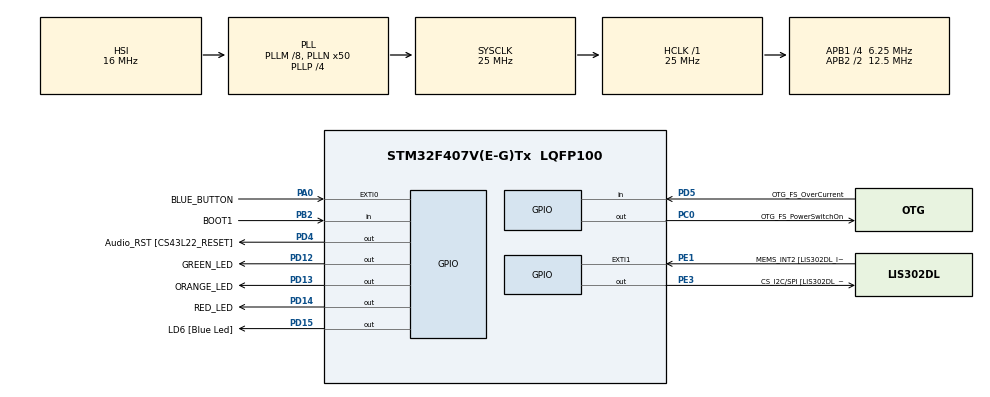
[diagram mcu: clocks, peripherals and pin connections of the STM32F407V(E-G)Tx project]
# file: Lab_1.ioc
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Mcu.Family=STM32F4
Mcu.Name=STM32F407V(E-G)Tx
Mcu.Package=LQFP100
NVIC.PriorityGroup=NVIC_PRIORITYGROUP_4
NVIC.TIM7_IRQn=true\:0\:0\:false\:false\:true\:false\:true\:true
NVIC.TimeBase=TIM7_IRQn
NVIC.TimeBaseIP=TIM7
PA0-WKUP.GPIO_Label=BLUE_BUTTON
PA0-WKUP.Signal=GPXTI0
PA10.GPIO_Label=OTG_FS_ID
PA10.GPIO_Mode=GPIO_MODE_AF_PP
PA10.GPIO_PuPd=GPIO_NOPULL
PA10.GPIO_Speed=GPIO_SPEED_FREQ_LOW
PA10.Signal=USB_OTG_FS_ID
PA11.GPIO_Label=OTG_FS_DM
PA11.GPIO_Mode=GPIO_MODE_AF_PP
PA11.GPIO_PuPd=GPIO_NOPULL
PA11.GPIO_Speed=GPIO_SPEED_FREQ_LOW
PA11.Signal=USB_OTG_FS_DM
PA12.GPIO_Label=OTG_FS_DP
PA12.GPIO_Mode=GPIO_MODE_AF_PP
PA12.GPIO_PuPd=GPIO_NOPULL
PA12.GPIO_Speed=GPIO_SPEED_FREQ_LOW
PA12.Signal=USB_OTG_FS_DP
PA13.GPIO_Label=SWDIO
PA13.Mode=Serial_Wire
PA13.Signal=SYS_JTMS-SWDIO
PA14.GPIO_Label=SWCLK
PA14.Mode=Serial_Wire
PA14.Signal=SYS_JTCK-SWCLK
PA4.GPIO_Label=I2S3_WS [CS43L22_LRCK]
PA4.GPIO_Mode=GPIO_MODE_AF_PP
PA4.GPIO_PuPd=GPIO_NOPULL
PA4.GPIO_Speed=GPIO_SPEED_FREQ_LOW
PA4.Signal=I2S3_WS
PA5.GPIO_Label=SPI1_SCK [LIS302DL_SCL/SPC]
PA5.GPIO_Mode=GPIO_MODE_AF_PP
PA5.GPIO_PuPd=GPIO_NOPULL
PA5.GPIO_Speed=GPIO_SPEED_FREQ_LOW
PA5.Signal=SPI1_SCK
PA6.GPIO_Label=SPI1_MISO [LIS302DL_SDO]
PA6.GPIO_Mode=GPIO_MODE_AF_PP
PA6.GPIO_PuPd=GPIO_NOPULL
PA6.GPIO_Speed=GPIO_SPEED_FREQ_LOW
PA6.Signal=SPI1_MISO
PA7.GPIO_Label=SPI1_MOSI [LIS302DL_SDA/SDI/SDO]
PA7.GPIO_Mode=GPIO_MODE_AF_PP
PA7.GPIO_PuPd=GPIO_NOPULL
PA7.GPIO_Speed=GPIO_SPEED_FREQ_LOW
PA7.Signal=SPI1_MOSI
PA9.GPIO_Label=VBUS_FS
PA9.GPIO_Mode=GPIO_MODE_INPUT
PA9.GPIO_PuPd=GPIO_NOPULL
PA9.Signal=USB_OTG_FS_VBUS
PB10.GPIO_Label=CLK_IN [MP45DT02_CLK]
PB10.GPIO_Mode=GPIO_MODE_AF_PP
PB10.GPIO_PuPd=GPIO_NOPULL
PB10.GPIO_Speed=GPIO_SPEED_FREQ_LOW
PB10.Signal=I2S2_CK
PB2.GPIO_Label=BOOT1
PB2.GPIO_Mode=GPIO_MODE_INPUT
PB2.GPIO_PuPd=GPIO_NOPULL
PB2.Signal=GPIO_Input
PB3.GPIO_Label=SWO
PB3.Signal=SYS_JTDO-SWO
PB6.GPIO_Label=Audio_SCL [CS43L22_SCL]
PB6.GPIO_Mode=GPIO_MODE_AF_OD
PB6.GPIO_PuPd=GPIO_NOPULL
PB6.GPIO_Speed=GPIO_SPEED_FREQ_LOW
PB6.Signal=I2C1_SCL
PB9.GPIO_Label=Audio_SDA [CS43L22_SDA]
PB9.GPIO_Mode=GPIO_MODE_AF_OD
PB9.GPIO_PuPd=GPIO_NOPULL
PB9.GPIO_Speed=GPIO_SPEED_FREQ_LOW
PB9.Signal=I2C1_SDA
PC0.GPIO_Label=OTG_FS_PowerSwitchOn
PC0.GPIO_PuPd=GPIO_NOPULL
PC0.GPIO_Speed=GPIO_SPEED_FREQ_LOW
PC0.PinState=GPIO_PIN_SET
PC0.Signal=GPIO_Output
PC10.GPIO_Label=I2S3_SCK [CS43L22_SCLK]
PC10.GPIO_Mode=GPIO_MODE_AF_PP
PC10.GPIO_PuPd=GPIO_NOPULL
PC10.GPIO_Speed=GPIO_SPEED_FREQ_LOW
PC10.Signal=I2S3_CK
PC12.GPIO_Label=I2S3_SD [CS43L22_SDIN]
PC12.GPIO_Mode=GPIO_MODE_AF_PP
PC12.GPIO_PuPd=GPIO_NOPULL
PC12.GPIO_Speed=GPIO_SPEED_FREQ_LOW
PC12.Signal=I2S3_SD
PC14-OSC32_IN.GPIO_Label=PC14-OSC32_IN
PC14-OSC32_IN.Signal=RCC_OSC32_IN
PC15-OSC32_OUT.GPIO_Label=PC15-OSC32_OUT
PC15-OSC32_OUT.Signal=RCC_OSC32_OUT
PC3.GPIO_Label=PDM_OUT [MP45DT02_DOUT]
PC3.GPIO_Mode=GPIO_MODE_AF_PP
PC3.GPIO_PuPd=GPIO_NOPULL
PC3.GPIO_Speed=GPIO_SPEED_FREQ_LOW
PC3.Signal=I2S2_SD
PC7.GPIO_Label=I2S3_MCK [CS43L22_MCLK]
PC7.GPIO_Mode=GPIO_MODE_AF_PP
PC7.GPIO_PuPd=GPIO_NOPULL
PC7.GPIO_Speed=GPIO_SPEED_FREQ_LOW
PC7.Signal=I2S3_MCK
PD12.GPIO_Label=GREEN_LED
PD12.GPIO_PuPd=GPIO_NOPULL
PD12.GPIO_Speed=GPIO_SPEED_FREQ_LOW
PD12.Signal=GPIO_Output
PD13.GPIO_Label=ORANGE_LED
PD13.GPIO_PuPd=GPIO_NOPULL
PD13.GPIO_Speed=GPIO_SPEED_FREQ_LOW
PD13.Signal=GPIO_Output
PD14.GPIO_Label=RED_LED
PD14.GPIO_PuPd=GPIO_NOPULL
PD14.GPIO_Speed=GPIO_SPEED_FREQ_LOW
PD14.Signal=GPIO_Output
PD15.GPIO_Label=LD6 [Blue Led]
PD15.GPIO_PuPd=GPIO_NOPULL
PD15.GPIO_Speed=GPIO_SPEED_FREQ_LOW
PD15.Signal=GPIO_Output
PD4.GPIO_Label=Audio_RST [CS43L22_RESET]
PD4.GPIO_PuPd=GPIO_NOPULL
PD4.GPIO_Speed=GPIO_SPEED_FREQ_LOW
PD4.Signal=GPIO_Output
PD5.GPIO_Label=OTG_FS_OverCurrent
PD5.GPIO_Mode=GPIO_MODE_INPUT
PD5.GPIO_PuPd=GPIO_NOPULL
PD5.Signal=GPIO_Input
PE1.GPIO_Label=MEMS_INT2 [LIS302DL_INT2]
PE1.GPIO_ModeDefaultEXTI=GPIO_MODE_EVT_RISING
PE1.GPIO_PuPd=GPIO_NOPULL
PE1.Signal=GPXTI1
PE3.GPIO_Label=CS_I2C/SPI [LIS302DL_CS_I2C/SPI]
PE3.GPIO_PuPd=GPIO_NOPULL
PE3.GPIO_Speed=GPIO_SPEED_FREQ_LOW
PE3.Signal=GPIO_Output
PH0-OSC_IN.GPIO_Label=PH0-OSC_IN
PH0-OSC_IN.Signal=RCC_OSC_IN
PH1-OSC_OUT.GPIO_Label=PH1-OSC_OUT
PH1-OSC_OUT.Signal=RCC_OSC_OUT
ProjectManager.HeapSize=0x200
ProjectManager.StackSize=0x400
ProjectManager.TargetToolchain=STM32CubeIDE
RCC.48MHZClocksFreq_Value=14285714.285714285
RCC.AHBFreq_Value=25000000
RCC.APB1CLKDivider=RCC_HCLK_DIV4
RCC.APB1Freq_Value=6250000
RCC.APB1TimFreq_Value=12500000
RCC.APB2CLKDivider=RCC_HCLK_DIV2
RCC.APB2Freq_Value=12500000
RCC.APB2TimFreq_Value=25000000
RCC.CortexFreq_Value=25000000
RCC.HCLKFreq_Value=25000000
RCC.HSE_VALUE=8000000
RCC.HSI_VALUE=16000000
RCC.LSE_VALUE=32768
RCC.PLLM=8
RCC.PLLN=50
RCC.PLLP=RCC_PLLP_DIV4
RCC.PLLQ=7
RCC.SYSCLKFreq_VALUE=25000000
RCC.SYSCLKSource=RCC_SYSCLKSOURCE_PLLCLK
RCC.VCOOutputFreq_Value=100000000
VP_SYS_VS_tim7.Mode=TIM7
board=STM32F407G-DISC1

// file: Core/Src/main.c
/* USER CODE BEGIN Header */
/**
  ******************************************************************************
  * @file           : main.c
  * @brief          : Main program body
  ******************************************************************************
  * @attention
  *
  * Copyright (c) 2026 STMicroelectronics.
  * All rights reserved.
  *
  * This software is licensed under terms that can be found in the LICENSE file
  * in the root directory of this software component.
  * If no LICENSE file comes with this software, it is provided AS-IS.
  *
  ******************************************************************************
  */
/* USER CODE END Header */
#include "main.h"

/* USER CODE BEGIN Includes */
#include "FreeRTOS.h"
#include "task.h"
#include "queue.h"
/* USER CODE END Includes */

void SystemClock_Config(void);
static void MX_GPIO_Init(void);

/* USER CODE BEGIN 0 */
xQueueHandle MsgQueue;
TaskHandle_t xLEDHandle = NULL;
static uint8_t ucLEDSuspended = 0;

void vButtonTask(void *pvParameters){
    while(1) {
        if (HAL_GPIO_ReadPin(BLUE_BUTTON_GPIO_Port, BLUE_BUTTON_Pin)) {
            //To avoid button bouncing problem
        	vTaskDelay(pdMS_TO_TICKS(20));

            uint32_t holdCount = 0;
            uint8_t longPressTriggered = 0;

            while (HAL_GPIO_ReadPin(BLUE_BUTTON_GPIO_Port, BLUE_BUTTON_Pin)) {
                vTaskDelay(pdMS_TO_TICKS(10));
                holdCount++;

                if (holdCount >= 100) {
                    longPressTriggered = 1;
                    if (ucLEDSuspended == 0) {
                        vTaskSuspend(xLEDHandle);
                        ucLEDSuspended = 1;
                    } else {
                        vTaskResume(xLEDHandle);
                        ucLEDSuspended = 0;
                    }

                    while (HAL_GPIO_ReadPin(BLUE_BUTTON_GPIO_Port, BLUE_BUTTON_Pin)) {
                        vTaskDelay(pdMS_TO_TICKS(10));
                    }
                    break;
                }
            }

            if (!longPressTriggered && ucLEDSuspended == 0) {
                int toggle = 1;
                xQueueSend(MsgQueue, &toggle, 0);
            }
        }
        vTaskDelay(pdMS_TO_TICKS(10));
    }
}

void vLEDTask(void *pvParameters) {
    int msg = 0; //To inform mode swap, if msg == 1, need to change mode
    int mode = 0; //To know which mode is it now

    while(1) {
        if (mode == 0) {
            const uint16_t leds[] = {RED_LED_Pin, ORANGE_LED_Pin, GREEN_LED_Pin};
            for (int i = 0; i < 3; i++) {
                HAL_GPIO_WritePin(GPIOD, RED_LED_Pin|GREEN_LED_Pin|ORANGE_LED_Pin, GPIO_PIN_RESET);
                HAL_GPIO_WritePin(GPIOD, leds[i], GPIO_PIN_SET);

                //represent that queue has get something in 1000ms
                if (xQueueReceive(MsgQueue, &msg, pdMS_TO_TICKS(1000))) {
                    mode = 1;
                    break;
                }
            }
        } else {

            HAL_GPIO_WritePin(GPIOD, RED_LED_Pin|GREEN_LED_Pin|ORANGE_LED_Pin, GPIO_PIN_RESET);
            HAL_GPIO_WritePin(GPIOD, ORANGE_LED_Pin, GPIO_PIN_SET);
            if (xQueueReceive(MsgQueue, &msg, pdMS_TO_TICKS(500))) {
                mode = 0;
                continue;
            }
            HAL_GPIO_WritePin(GPIOD, ORANGE_LED_Pin, GPIO_PIN_RESET);
            if (xQueueReceive(MsgQueue, &msg, pdMS_TO_TICKS(500))) {
                mode = 0;
            }
        }
    }
}
/* USER CODE END 0 */

int main(void)
{

  /* MCU Configuration--------------------------------------------------------*/

  /* Reset of all peripherals, Initializes the Flash interface and the Systick. */
  HAL_Init();

  /* Configure the system clock */
  SystemClock_Config();

  /* Initialize all configured peripherals */
  MX_GPIO_Init();
  /* USER CODE BEGIN 2 */
  MsgQueue = xQueueCreate(1, sizeof(int));

  xTaskCreate(vLEDTask, "LED Task", 128, NULL, 1, &xLEDHandle);
  xTaskCreate(vButtonTask, "Button Task", 128, NULL, 1, NULL);
  vTaskStartScheduler();
  /* USER CODE END 2 */

  /* Infinite loop */
  while (1)
  {

  }
}

void SystemClock_Config(void)
{
  RCC_OscInitTypeDef RCC_OscInitStruct = {0};
  RCC_ClkInitTypeDef RCC_ClkInitStruct = {0};

  /** Configure the main internal regulator output voltage
  */
  __HAL_RCC_PWR_CLK_ENABLE();
  __HAL_PWR_VOLTAGESCALING_CONFIG(PWR_REGULATOR_VOLTAGE_SCALE1);

  /** Initializes the RCC Oscillators according to the specified parameters
  * in the RCC_OscInitTypeDef structure.
  */
  RCC_OscInitStruct.OscillatorType = RCC_OSCILLATORTYPE_HSI;
  RCC_OscInitStruct.HSIState = RCC_HSI_ON;
  RCC_OscInitStruct.HSICalibrationValue = RCC_HSICALIBRATION_DEFAULT;
  RCC_OscInitStruct.PLL.PLLState = RCC_PLL_ON;
  RCC_OscInitStruct.PLL.PLLSource = RCC_PLLSOURCE_HSI;
  RCC_OscInitStruct.PLL.PLLM = 8;
  RCC_OscInitStruct.PLL.PLLN = 50;
  RCC_OscInitStruct.PLL.PLLP = RCC_PLLP_DIV4;
  RCC_OscInitStruct.PLL.PLLQ = 7;
  if (HAL_RCC_OscConfig(&RCC_OscInitStruct) != HAL_OK)
  {
    Error_Handler();
  }

  /** Initializes the CPU, AHB and APB buses clocks
  */
  RCC_ClkInitStruct.ClockType = RCC_CLOCKTYPE_HCLK|RCC_CLOCKTYPE_SYSCLK
                              |RCC_CLOCKTYPE_PCLK1|RCC_CLOCKTYPE_PCLK2;
  RCC_ClkInitStruct.SYSCLKSource = RCC_SYSCLKSOURCE_PLLCLK;
  RCC_ClkInitStruct.AHBCLKDivider = RCC_SYSCLK_DIV1;
  RCC_ClkInitStruct.APB1CLKDivider = RCC_HCLK_DIV4;
  RCC_ClkInitStruct.APB2CLKDivider = RCC_HCLK_DIV2;

  if (HAL_RCC_ClockConfig(&RCC_ClkInitStruct, FLASH_LATENCY_0) != HAL_OK)
  {
    Error_Handler();
  }
}

static void MX_GPIO_Init(void)
{
  GPIO_InitTypeDef GPIO_InitStruct = {0};

  /* GPIO Ports Clock Enable */
  __HAL_RCC_GPIOE_CLK_ENABLE();
  __HAL_RCC_GPIOC_CLK_ENABLE();
  __HAL_RCC_GPIOH_CLK_ENABLE();
  __HAL_RCC_GPIOA_CLK_ENABLE();
  __HAL_RCC_GPIOB_CLK_ENABLE();
  __HAL_RCC_GPIOD_CLK_ENABLE();

  /*Configure GPIO pin Output Level */
  HAL_GPIO_WritePin(CS_I2C_SPI_GPIO_Port, CS_I2C_SPI_Pin, GPIO_PIN_RESET);

  /*Configure GPIO pin Output Level */
  HAL_GPIO_WritePin(OTG_FS_PowerSwitchOn_GPIO_Port, OTG_FS_PowerSwitchOn_Pin, GPIO_PIN_SET);

  /*Configure GPIO pin Output Level */
  HAL_GPIO_WritePin(GPIOD, GREEN_LED_Pin|ORANGE_LED_Pin|RED_LED_Pin|LD6_Pin
                          |Audio_RST_Pin, GPIO_PIN_RESET);

  /*Configure GPIO pin : CS_I2C_SPI_Pin */
  GPIO_InitStruct.Pin = CS_I2C_SPI_Pin;
  GPIO_InitStruct.Mode = GPIO_MODE_OUTPUT_PP;
  GPIO_InitStruct.Pull = GPIO_NOPULL;
  GPIO_InitStruct.Speed = GPIO_SPEED_FREQ_LOW;
  HAL_GPIO_Init(CS_I2C_SPI_GPIO_Port, &GPIO_InitStruct);

  /*Configure GPIO pin : OTG_FS_PowerSwitchOn_Pin */
  GPIO_InitStruct.Pin = OTG_FS_PowerSwitchOn_Pin;
  GPIO_InitStruct.Mode = GPIO_MODE_OUTPUT_PP;
  GPIO_InitStruct.Pull = GPIO_NOPULL;
  GPIO_InitStruct.Speed = GPIO_SPEED_FREQ_LOW;
  HAL_GPIO_Init(OTG_FS_PowerSwitchOn_GPIO_Port, &GPIO_InitStruct);

  /*Configure GPIO pin : PDM_OUT_Pin */
  GPIO_InitStruct.Pin = PDM_OUT_Pin;
  GPIO_InitStruct.Mode = GPIO_MODE_AF_PP;
  GPIO_InitStruct.Pull = GPIO_NOPULL;
  GPIO_InitStruct.Speed = GPIO_SPEED_FREQ_LOW;
  GPIO_InitStruct.Alternate = GPIO_AF5_SPI2;
  HAL_GPIO_Init(PDM_OUT_GPIO_Port, &GPIO_InitStruct);

  /*Configure GPIO pin : BLUE_BUTTON_Pin */
  GPIO_InitStruct.Pin = BLUE_BUTTON_Pin;
  GPIO_InitStruct.Mode = GPIO_MODE_IT_RISING;
  GPIO_InitStruct.Pull = GPIO_NOPULL;
  HAL_GPIO_Init(BLUE_BUTTON_GPIO_Port, &GPIO_InitStruct);

  /*Configure GPIO pin : I2S3_WS_Pin */
  GPIO_InitStruct.Pin = I2S3_WS_Pin;
  GPIO_InitStruct.Mode = GPIO_MODE_AF_PP;
  GPIO_InitStruct.Pull = GPIO_NOPULL;
  GPIO_InitStruct.Speed = GPIO_SPEED_FREQ_LOW;
  GPIO_InitStruct.Alternate = GPIO_AF6_SPI3;
  HAL_GPIO_Init(I2S3_WS_GPIO_Port, &GPIO_InitStruct);

  /*Configure GPIO pins : SPI1_SCK_Pin SPI1_MISO_Pin SPI1_MOSI_Pin */
  GPIO_InitStruct.Pin = SPI1_SCK_Pin|SPI1_MISO_Pin|SPI1_MOSI_Pin;
  GPIO_InitStruct.Mode = GPIO_MODE_AF_PP;
  GPIO_InitStruct.Pull = GPIO_NOPULL;
  GPIO_InitStruct.Speed = GPIO_SPEED_FREQ_LOW;
  GPIO_InitStruct.Alternate = GPIO_AF5_SPI1;
  HAL_GPIO_Init(GPIOA, &GPIO_InitStruct);

  /*Configure GPIO pin : BOOT1_Pin */
  GPIO_InitStruct.Pin = BOOT1_Pin;
  GPIO_InitStruct.Mode = GPIO_MODE_INPUT;
  GPIO_InitStruct.Pull = GPIO_NOPULL;
  HAL_GPIO_Init(BOOT1_GPIO_Port, &GPIO_InitStruct);

  /*Configure GPIO pin : CLK_IN_Pin */
  GPIO_InitStruct.Pin = CLK_IN_Pin;
  GPIO_InitStruct.Mode = GPIO_MODE_AF_PP;
  GPIO_InitStruct.Pull = GPIO_NOPULL;
  GPIO_InitStruct.Speed = GPIO_SPEED_FREQ_LOW;
  GPIO_InitStruct.Alternate = GPIO_AF5_SPI2;
  HAL_GPIO_Init(CLK_IN_GPIO_Port, &GPIO_InitStruct);

  /*Configure GPIO pins : GREEN_LED_Pin ORANGE_LED_Pin RED_LED_Pin LD6_Pin
                           Audio_RST_Pin */
  GPIO_InitStruct.Pin = GREEN_LED_Pin|ORANGE_LED_Pin|RED_LED_Pin|LD6_Pin
                          |Audio_RST_Pin;
  GPIO_InitStruct.Mode = GPIO_MODE_OUTPUT_PP;
  GPIO_InitStruct.Pull = GPIO_NOPULL;
  GPIO_InitStruct.Speed = GPIO_SPEED_FREQ_LOW;
  HAL_GPIO_Init(GPIOD, &GPIO_InitStruct);

  /*Configure GPIO pins : I2S3_MCK_Pin I2S3_SCK_Pin I2S3_SD_Pin */
  GPIO_InitStruct.Pin = I2S3_MCK_Pin|I2S3_SCK_Pin|I2S3_SD_Pin;
  GPIO_InitStruct.Mode = GPIO_MODE_AF_PP;
  GPIO_InitStruct.Pull = GPIO_NOPULL;
  GPIO_InitStruct.Speed = GPIO_SPEED_FREQ_LOW;
  GPIO_InitStruct.Alternate = GPIO_AF6_SPI3;
  HAL_GPIO_Init(GPIOC, &GPIO_InitStruct);

  /*Configure GPIO pin : VBUS_FS_Pin */
  GPIO_InitStruct.Pin = VBUS_FS_Pin;
  GPIO_InitStruct.Mode = GPIO_MODE_INPUT;
  GPIO_InitStruct.Pull = GPIO_NOPULL;
  HAL_GPIO_Init(VBUS_FS_GPIO_Port, &GPIO_InitStruct);

  /*Configure GPIO pins : OTG_FS_ID_Pin OTG_FS_DM_Pin OTG_FS_DP_Pin */
  GPIO_InitStruct.Pin = OTG_FS_ID_Pin|OTG_FS_DM_Pin|OTG_FS_DP_Pin;
  GPIO_InitStruct.Mode = GPIO_MODE_AF_PP;
  GPIO_InitStruct.Pull = GPIO_NOPULL;
  GPIO_InitStruct.Speed = GPIO_SPEED_FREQ_LOW;
  GPIO_InitStruct.Alternate = GPIO_AF10_OTG_FS;
  HAL_GPIO_Init(GPIOA, &GPIO_InitStruct);

  /*Configure GPIO pin : OTG_FS_OverCurrent_Pin */
  GPIO_InitStruct.Pin = OTG_FS_OverCurrent_Pin;
  GPIO_InitStruct.Mode = GPIO_MODE_INPUT;
  GPIO_InitStruct.Pull = GPIO_NOPULL;
  HAL_GPIO_Init(OTG_FS_OverCurrent_GPIO_Port, &GPIO_InitStruct);

  /*Configure GPIO pins : Audio_SCL_Pin Audio_SDA_Pin */
  GPIO_InitStruct.Pin = Audio_SCL_Pin|Audio_SDA_Pin;
  GPIO_InitStruct.Mode = GPIO_MODE_AF_OD;
  GPIO_InitStruct.Pull = GPIO_NOPULL;
  GPIO_InitStruct.Speed = GPIO_SPEED_FREQ_LOW;
  GPIO_InitStruct.Alternate = GPIO_AF4_I2C1;
  HAL_GPIO_Init(GPIOB, &GPIO_InitStruct);

  /*Configure GPIO pin : MEMS_INT2_Pin */
  GPIO_InitStruct.Pin = MEMS_INT2_Pin;
  GPIO_InitStruct.Mode = GPIO_MODE_EVT_RISING;
  GPIO_InitStruct.Pull = GPIO_NOPULL;
  HAL_GPIO_Init(MEMS_INT2_GPIO_Port, &GPIO_InitStruct);

}

void HAL_TIM_PeriodElapsedCallback(TIM_HandleTypeDef *htim)
{
  if (htim->Instance == TIM7) {
    HAL_IncTick();
  }
}

void Error_Handler(void)
{
  __disable_irq();
  while (1)
  {
  }
}
